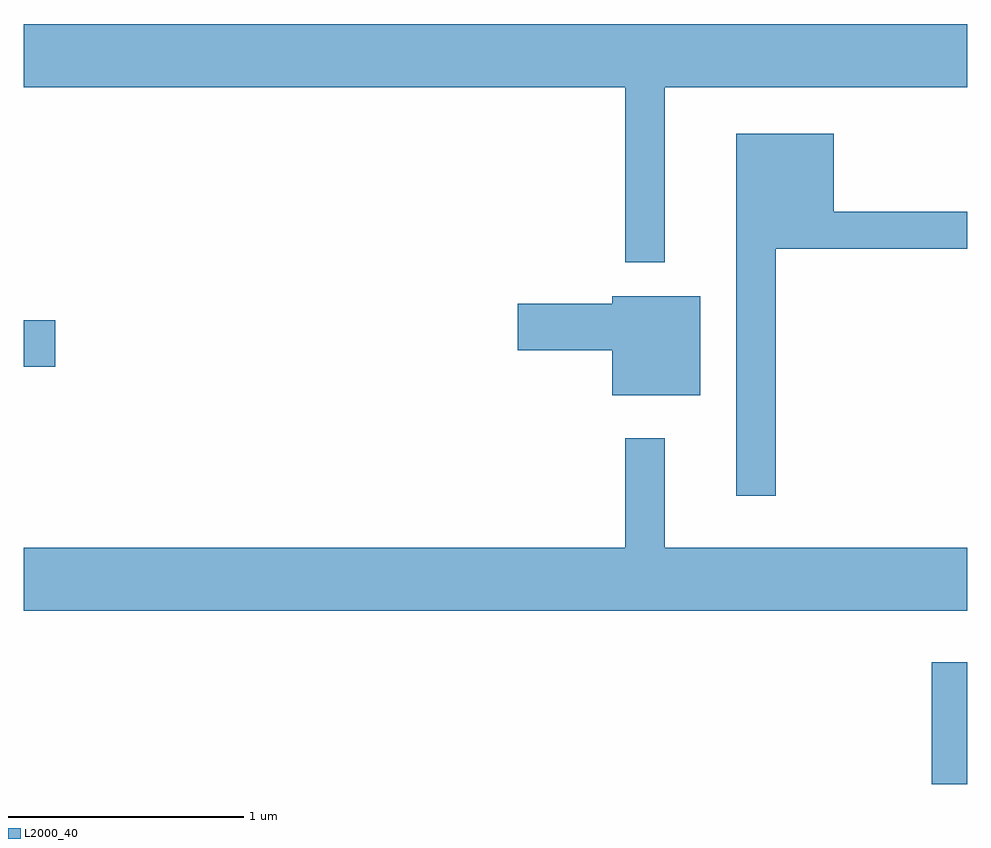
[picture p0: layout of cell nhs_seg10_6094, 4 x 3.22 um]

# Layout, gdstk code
import gdstk
lib = gdstk.Library(unit=1e-6, precision=1e-09)
def R(c, l, rs):  # rectangles x0, y0, x1, y1
    for r in rs: c.add(gdstk.rectangle(r[:2], r[2:], *l))
def P(c, l, *ps):  # polygons
    for p in ps: c.add(gdstk.Polygon(p, *l))
L2000_40 = (2000, 40)

nhs_seg10_6094 = lib.new_cell('nhs_seg10_6094')
R(nhs_seg10_6094, L2000_40, [(369.461,2106.522,369.611,2107.038), (365.611,2108.291,365.744,2108.489)])
P(nhs_seg10_6094, L2000_40, [(368.329,2109.476),(369.611,2109.476),(369.611,2109.744),(365.611,2109.744),(365.611,2109.476),(368.161,2109.476),(368.161,2108.733),(368.329,2108.733)],
  [(368.799,2108.791),(369.611,2108.791),(369.611,2108.949),(369.044,2108.949),(369.044,2109.279),(368.631,2109.279),(368.631,2107.743),(368.799,2107.743)],
  [(368.479,2108.589),(368.106,2108.589),(368.106,2108.559),(367.706,2108.559),(367.706,2108.361),(368.106,2108.361),(368.106,2108.171),(368.479,2108.171)],
  [(369.611,2107.524),(368.329,2107.524),(368.329,2107.988),(368.161,2107.988),(368.161,2107.524),(365.611,2107.524),(365.611,2107.256),(369.611,2107.256)])

lib.write_gds('nhs_seg10_6094.gds')
